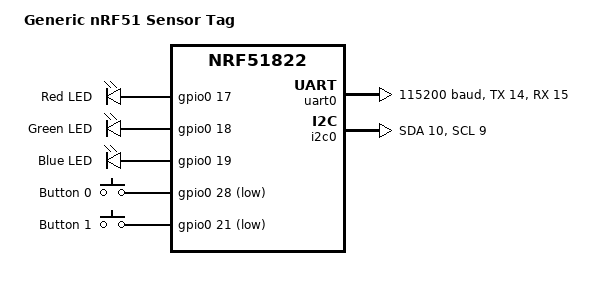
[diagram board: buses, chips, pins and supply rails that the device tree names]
/dts-v1/;
#include <nordic/nrf51822_qfaa.dtsi>

/ {
	model = "Generic nRF51 Sensor Tag";

	chosen {
		zephyr,console = &uart0;
		zephyr,shell-uart = &uart0;
		zephyr,uart-mcumgr = &uart0;
		zephyr,bt-mon-uart = &uart0;
		zephyr,bt-c2h-uart = &uart0;
		zephyr,sram = &sram0;
		zephyr,flash = &flash0;
		zephyr,code-partition = &slot0_partition;
	};

	aliases {
		led0 = &led0;
		sw0 = &button0;
	};

	leds {
		compatible = "gpio-leds";
		led0: led_0 {
			gpios = <&gpio0 17 0>;
			label = "Red LED";
		};
		led1: led_1 {
			gpios = <&gpio0 18 0>;
			label = "Green LED";
		};
		led2: led_2 {
			gpios = <&gpio0 19 0>;
			label = "Blue LED";
		};
	};

	buttons {
		compatible = "gpio-keys";
		button0: button_0 {
			/* gpio flags need validation */
			gpios = <&gpio0 28 (GPIO_PULL_UP | GPIO_ACTIVE_LOW)>;
			label = "Button 0";
		};
		button1: button_1 {
			/* gpio flags need validation */
			gpios = <&gpio0 21 (GPIO_PULL_UP | GPIO_ACTIVE_LOW)>;
			label = "Button 1";
		};
	};


};

&gpiote {
	status = "okay";
};

&gpio0 {
	status = "okay";
};

&uart0 {
	current-speed = <115200>;
	status = "okay";
	tx-pin = <14>;
	rx-pin = <15>;
};

&i2c0 {
	status = "okay";
	sda-pin = <10>;
	scl-pin = <9>;
};

&flash0 {
	/*
	 * For more information, see:
	 * http://docs.zephyrproject.org/latest/guides/dts/index.html#flash-partitions
	 */
	partitions {
		compatible = "fixed-partitions";
		#address-cells = <1>;
		#size-cells = <1>;

		boot_partition: partition@0 {
			label = "mcuboot";
			reg = <0x00000000 0x8000>;
		};
		slot0_partition: partition@8000 {
			label = "image-0";
			reg = <0x00008000 0x1a000>;
		};
		slot1_partition: partition@22000 {
			label = "image-1";
			reg = <0x00022000 0x1a000>;
		};
		scratch_partition: partition@3c000 {
			label = "image-scratch";
			reg = <0x0003c000 0x2000>;
		};
		storage_partition: partition@3e000 {
			label = "storage";
			reg = <0x0003e000 0x00002000>;
		};
	};
};
